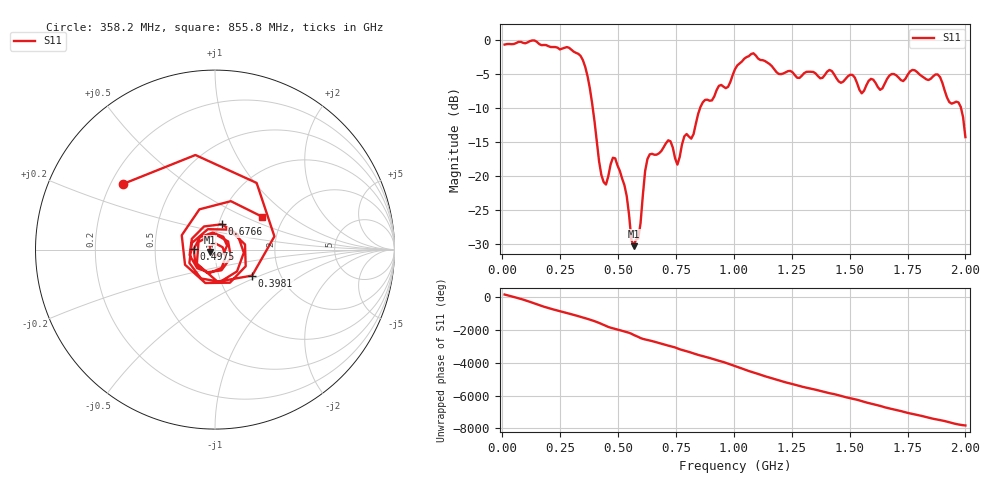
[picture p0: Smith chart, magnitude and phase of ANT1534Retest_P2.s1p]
!Created with skrf (http://scikit-rf.org).
# Hz S RI R 50.0
!freq ReS11 ImS11
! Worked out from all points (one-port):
!   201 points, 10 MHz to 2 GHz, reference 50 ohm
!   lowest |S11| = -30.4 dB at 567.2 MHz (marker M1), VSWR 1.06, Z = 47.3 - j1.26 ohm
!   |S11| at or under -10 dB: 390.5 MHz to 854.9 MHz (464.5 MHz wide, 74.6 % of centre); 1.981 GHz to end of sweep
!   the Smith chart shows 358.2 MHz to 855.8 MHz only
!   S11 on the Smith chart (normalised r, x): 358.2 MHz: 0.25, +0.30; 398.1 MHz: 1.44, -0.45; 497.6 MHz: 0.79, +0.00; 676.6 MHz: 1.03, +0.30; 855.8 MHz: 1.55, +0.63
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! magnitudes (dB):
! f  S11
! 10 MHz  -0.7
! 258.8 MHz  -1.3
! 358.2 MHz  -4.0
! 398.1 MHz  -12.0
! 437.9 MHz  -20.9
! 477.6 MHz  -17.4
! 497.6 MHz  -18.5
! 507.5 MHz  -19.3
! 537.4 MHz  -23.0
! 567.2 MHz  -30.4
! 587.1 MHz  -29.2
! 626.9 MHz  -17.5
! 676.6 MHz  -16.7
! 726.4 MHz  -15.0
! 756.2 MHz  -18.4
! 786.1 MHz  -14.2
! 816 MHz  -14.6
! 855.8 MHz  -9.9
! 1.005 GHz  -4.4
! 1.085 GHz  -2.0
! 1.254 GHz  -4.8
! 1.502 GHz  -5.2
! 1.552 GHz  -7.9
! 1.751 GHz  -5.1
! 1.881 GHz  -5.1
! 1.93 GHz  -9.2
! 1.98 GHz  -9.9
! 2 GHz  -14.3
